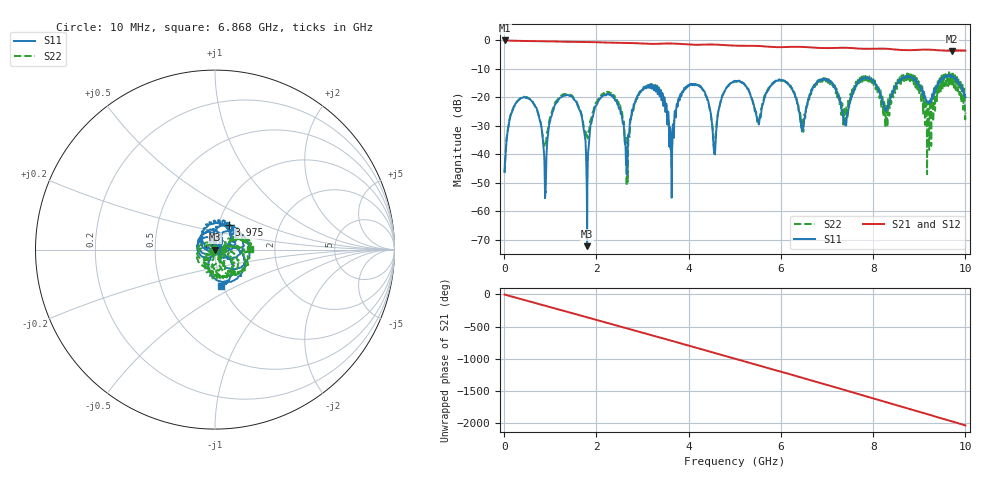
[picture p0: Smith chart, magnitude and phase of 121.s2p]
!Keysight Technologies,E5080B,MY59205177,A.15.75.32
!Date: Friday, February 23, 2024 03:37:56
!Correction: S11(Cdelta 2-Port  )
!S21(Cdelta 2-Port  )
!S12(Cdelta 2-Port  )
!S22(Cdelta 2-Port  )
!S2P File: Measurements: S11, S21, S12, S22:
# Hz S  dB  R 50
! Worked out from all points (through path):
!   10001 points, 10 MHz to 10 GHz, reference 50 ohm
!   highest |S21| = -0.01 dB at 14 MHz (marker M1); lowest = -3.7 dB at 9.701 GHz (marker M2)
!   group delay of S21, straight-line fit = 565 ps
!   lowest |S11| = -72.2 dB at 1.798 GHz (marker M3), VSWR 1.00, Z = 50 + j0.0121 ohm
!   |S11| at or under -10 dB: start of sweep to end of sweep
!   |S22| runs from -50.9 to -11.1 dB; largest |S21 - S12| = 0.0016
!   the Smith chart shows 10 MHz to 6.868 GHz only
!   S11 on the Smith chart (normalised r, x): 10 MHz: 1.01, -0.00; 3.975 GHz: 1.12, +0.31; 6.868 GHz: 0.98, -0.41
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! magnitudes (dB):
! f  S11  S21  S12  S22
! 10 MHz  -46.1  0.0  0.0  -45.9
! 14 MHz  -43.3  0.0  0.0  -45.4
! 374.6 MHz  -20.2  -0.2  -0.2  -20.1
! 888.1 MHz  -54.7  -0.3  -0.3  -37.0
! 1.177 GHz  -20.8  -0.4  -0.4  -20.2
! 1.675 GHz  -26.2  -0.5  -0.5  -25.6
! 1.798 GHz  -72.2  -0.5  -0.5  -33.3
! 2.108 GHz  -19.8  -0.7  -0.7  -19.0
! 2.662 GHz  -46.9  -0.9  -0.9  -44.0
! 2.892 GHz  -19.3  -1.0  -1.0  -20.1
! 3.341 GHz  -17.4  -1.2  -1.2  -17.7
! 3.627 GHz  -47.1  -1.1  -1.1  -41.9
! 3.975 GHz  -16.1  -1.4  -1.4  -16.0
! 4.561 GHz  -39.6  -1.4  -1.4  -38.5
! 5.005 GHz  -14.1  -1.8  -1.8  -14.5
! 6.108 GHz  -14.7  -2.3  -2.3  -14.8
! 6.464 GHz  -31.5  -2.3  -2.3  -27.9
! 6.67 GHz  -17.3  -2.5  -2.5  -17.0
! 6.868 GHz  -13.8  -2.7  -2.6  -14.1
! 8.336 GHz  -22.7  -3.0  -3.0  -21.0
! 9.701 GHz  -12.2  -3.7  -3.7  -13.8
! 10 GHz  -20.0  -3.6  -3.6  -25.3
